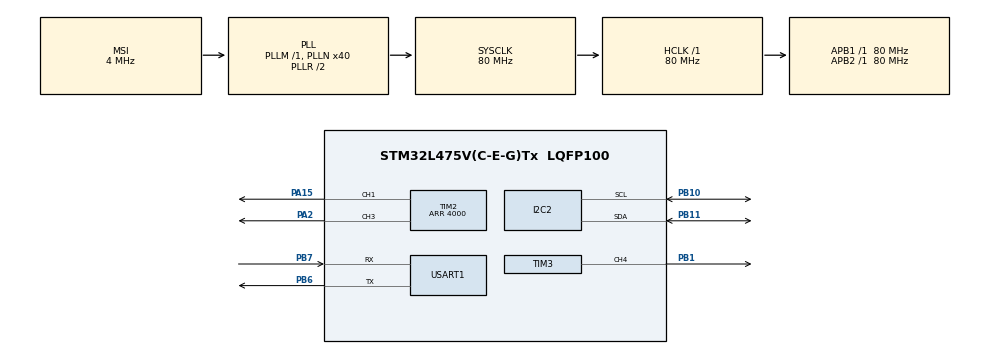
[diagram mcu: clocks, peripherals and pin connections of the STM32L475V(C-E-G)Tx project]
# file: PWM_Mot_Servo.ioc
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I2C2.Timing=0x10D19CE4
Mcu.Family=STM32L4
Mcu.Name=STM32L475V(C-E-G)Tx
Mcu.Package=LQFP100
NVIC.PriorityGroup=NVIC_PRIORITYGROUP_4
PA15\ (JTDI).Signal=S_TIM2_CH1
PA2.Signal=S_TIM2_CH3
PB1.Signal=S_TIM3_CH4
PB10.Mode=I2C
PB10.Signal=I2C2_SCL
PB11.Mode=I2C
PB11.Signal=I2C2_SDA
PB6.Mode=Asynchronous
PB6.Signal=USART1_TX
PB7.Mode=Asynchronous
PB7.Signal=USART1_RX
ProjectManager.HeapSize=0x200
ProjectManager.StackSize=0x400
ProjectManager.TargetToolchain=STM32CubeIDE
RCC.AHBFreq_Value=80000000
RCC.APB1Freq_Value=80000000
RCC.APB1TimFreq_Value=80000000
RCC.APB2Freq_Value=80000000
RCC.APB2TimFreq_Value=80000000
RCC.CortexFreq_Value=80000000
RCC.HCLKFreq_Value=80000000
RCC.HSE_VALUE=8000000
RCC.HSI_VALUE=16000000
RCC.LSE_VALUE=32768
RCC.MSI_VALUE=4000000
RCC.PLLN=40
RCC.SYSCLKFreq_VALUE=80000000
RCC.SYSCLKSource=RCC_SYSCLKSOURCE_PLLCLK
RCC.VCOOutputFreq_Value=160000000
SH.S_TIM2_CH1.0=TIM2_CH1,PWM Generation1 CH1
SH.S_TIM2_CH3.0=TIM2_CH3,PWM Generation3 CH3
SH.S_TIM3_CH4.0=TIM3_CH4,PWM Generation4 CH4
TIM2.Channel-PWM\ Generation1\ CH1=TIM_CHANNEL_1
TIM2.Channel-PWM\ Generation3\ CH3=TIM_CHANNEL_3
TIM2.Period=4000
TIM3.Channel-PWM\ Generation4\ CH4=TIM_CHANNEL_4
TIM3.Period=20000
TIM3.Prescaler=79
TIM3.Pulse-PWM\ Generation4\ CH4=500
USART1.VirtualMode-Asynchronous=VM_ASYNC
board=custom

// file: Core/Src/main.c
/* USER CODE BEGIN Header */
/**
  ******************************************************************************
  * @file           : main.c
  * @brief          : Main program body
  ******************************************************************************
  * @attention
  *
  * Copyright (c) 2025 STMicroelectronics.
  * All rights reserved.
  *
  * This software is licensed under terms that can be found in the LICENSE file
  * in the root directory of this software component.
  * If no LICENSE file comes with this software, it is provided AS-IS.
  *
  ******************************************************************************
  */
/* USER CODE END Header */
#include "main.h"

I2C_HandleTypeDef hi2c2;

TIM_HandleTypeDef htim2;
TIM_HandleTypeDef htim3;

UART_HandleTypeDef huart1;

void SystemClock_Config(void);
static void MX_GPIO_Init(void);
static void MX_TIM2_Init(void);
static void MX_USART1_UART_Init(void);
static void MX_I2C2_Init(void);
static void MX_TIM3_Init(void);

/* USER CODE BEGIN 0 */
void setMotorSpeed (int16_t speed) {
	if (speed >= 0) {
		__HAL_TIM_SET_COMPARE(&htim2, TIM_CHANNEL_1, speed);
		__HAL_TIM_SET_COMPARE(&htim2, TIM_CHANNEL_3, 0);
	} else {
		__HAL_TIM_SET_COMPARE(&htim2, TIM_CHANNEL_1, 0);
		__HAL_TIM_SET_COMPARE(&htim2, TIM_CHANNEL_3, speed);
	}
}

void LSM6DSL_Init(void) {
	uint8_t buffer[1];
	buffer[0] = 0x40;

	HAL_I2C_Mem_Write(&hi2c2, 0xD4, 0x10, I2C_MEMADD_SIZE_8BIT, buffer, 1, 1000);
}

int16_t LSM6DSL_ReadAccel(uint8_t axxis) {
	uint8_t buffer[2];

	HAL_I2C_Mem_Read(&hi2c2, 0xD4, 0x28+(2*axxis), I2C_MEMADD_SIZE_8BIT, buffer, 2, 1000);
	int16_t accel = ((int16_t)(buffer[1]<<8) | buffer[0])*0.061f;
	return accel;
}

void setServoPos(float ang) {
	int16_t vel;
	vel = 500 + (ang*2500)/180;
	__HAL_TIM_SET_COMPARE(&htim3, TIM_CHANNEL_4, vel);
}
/* USER CODE END 0 */

int main(void)
{

  /* MCU Configuration--------------------------------------------------------*/

  /* Reset of all peripherals, Initializes the Flash interface and the Systick. */
  HAL_Init();

  /* Configure the system clock */
  SystemClock_Config();

  /* Initialize all configured peripherals */
  MX_GPIO_Init();
  MX_TIM2_Init();
  MX_USART1_UART_Init();
  MX_I2C2_Init();
  MX_TIM3_Init();
  /* USER CODE BEGIN 2 */
  HAL_TIM_PWM_Start(&htim2, TIM_CHANNEL_3);
  HAL_TIM_PWM_Start(&htim2, TIM_CHANNEL_1);
  LSM6DSL_Init();
  HAL_TIM_PWM_Start(&htim3, TIM_CHANNEL_4);
  /* USER CODE END 2 */

  /* Infinite loop */
  /* USER CODE BEGIN WHILE */
  while (1)
  {
	  //int16_t th;
    /* USER CODE END WHILE */

    /* USER CODE BEGIN 3 */
	  int16_t accelY = LSM6DSL_ReadAccel(1);
	  setMotorSpeed(4*accelY);
	  HAL_Delay(100);

	  int16_t accx = LSM6DSL_ReadAccel(0);
	  int16_t ang = (1000 + accx) * 180/2000;
	  setServoPos(ang);
	  HAL_Delay(100);

	  /*setMotorSpeed(4000);
	  HAL_Delay(1000);
	  setMotorSpeed(-4000);
	  HAL_Delay(1000);*/
  }
  /* USER CODE END 3 */
}

void SystemClock_Config(void)
{
  RCC_OscInitTypeDef RCC_OscInitStruct = {0};
  RCC_ClkInitTypeDef RCC_ClkInitStruct = {0};

  /** Configure the main internal regulator output voltage
  */
  if (HAL_PWREx_ControlVoltageScaling(PWR_REGULATOR_VOLTAGE_SCALE1) != HAL_OK)
  {
    Error_Handler();
  }

  /** Initializes the RCC Oscillators according to the specified parameters
  * in the RCC_OscInitTypeDef structure.
  */
  RCC_OscInitStruct.OscillatorType = RCC_OSCILLATORTYPE_MSI;
  RCC_OscInitStruct.MSIState = RCC_MSI_ON;
  RCC_OscInitStruct.MSICalibrationValue = 0;
  RCC_OscInitStruct.MSIClockRange = RCC_MSIRANGE_6;
  RCC_OscInitStruct.PLL.PLLState = RCC_PLL_ON;
  RCC_OscInitStruct.PLL.PLLSource = RCC_PLLSOURCE_MSI;
  RCC_OscInitStruct.PLL.PLLM = 1;
  RCC_OscInitStruct.PLL.PLLN = 40;
  RCC_OscInitStruct.PLL.PLLP = RCC_PLLP_DIV7;
  RCC_OscInitStruct.PLL.PLLQ = RCC_PLLQ_DIV2;
  RCC_OscInitStruct.PLL.PLLR = RCC_PLLR_DIV2;
  if (HAL_RCC_OscConfig(&RCC_OscInitStruct) != HAL_OK)
  {
    Error_Handler();
  }

  /** Initializes the CPU, AHB and APB buses clocks
  */
  RCC_ClkInitStruct.ClockType = RCC_CLOCKTYPE_HCLK|RCC_CLOCKTYPE_SYSCLK
                              |RCC_CLOCKTYPE_PCLK1|RCC_CLOCKTYPE_PCLK2;
  RCC_ClkInitStruct.SYSCLKSource = RCC_SYSCLKSOURCE_PLLCLK;
  RCC_ClkInitStruct.AHBCLKDivider = RCC_SYSCLK_DIV1;
  RCC_ClkInitStruct.APB1CLKDivider = RCC_HCLK_DIV1;
  RCC_ClkInitStruct.APB2CLKDivider = RCC_HCLK_DIV1;

  if (HAL_RCC_ClockConfig(&RCC_ClkInitStruct, FLASH_LATENCY_4) != HAL_OK)
  {
    Error_Handler();
  }
}

static void MX_I2C2_Init(void)
{

  hi2c2.Instance = I2C2;
  hi2c2.Init.Timing = 0x10D19CE4;
  hi2c2.Init.OwnAddress1 = 0;
  hi2c2.Init.AddressingMode = I2C_ADDRESSINGMODE_7BIT;
  hi2c2.Init.DualAddressMode = I2C_DUALADDRESS_DISABLE;
  hi2c2.Init.OwnAddress2 = 0;
  hi2c2.Init.OwnAddress2Masks = I2C_OA2_NOMASK;
  hi2c2.Init.GeneralCallMode = I2C_GENERALCALL_DISABLE;
  hi2c2.Init.NoStretchMode = I2C_NOSTRETCH_DISABLE;
  if (HAL_I2C_Init(&hi2c2) != HAL_OK)
  {
    Error_Handler();
  }

  /** Configure Analogue filter
  */
  if (HAL_I2CEx_ConfigAnalogFilter(&hi2c2, I2C_ANALOGFILTER_ENABLE) != HAL_OK)
  {
    Error_Handler();
  }

  /** Configure Digital filter
  */
  if (HAL_I2CEx_ConfigDigitalFilter(&hi2c2, 0) != HAL_OK)
  {
    Error_Handler();
  }

}

static void MX_TIM2_Init(void)
{

  TIM_MasterConfigTypeDef sMasterConfig = {0};
  TIM_OC_InitTypeDef sConfigOC = {0};

  htim2.Instance = TIM2;
  htim2.Init.Prescaler = 0;
  htim2.Init.CounterMode = TIM_COUNTERMODE_UP;
  htim2.Init.Period = 4000;
  htim2.Init.ClockDivision = TIM_CLOCKDIVISION_DIV1;
  htim2.Init.AutoReloadPreload = TIM_AUTORELOAD_PRELOAD_DISABLE;
  if (HAL_TIM_PWM_Init(&htim2) != HAL_OK)
  {
    Error_Handler();
  }
  sMasterConfig.MasterOutputTrigger = TIM_TRGO_RESET;
  sMasterConfig.MasterSlaveMode = TIM_MASTERSLAVEMODE_DISABLE;
  if (HAL_TIMEx_MasterConfigSynchronization(&htim2, &sMasterConfig) != HAL_OK)
  {
    Error_Handler();
  }
  sConfigOC.OCMode = TIM_OCMODE_PWM1;
  sConfigOC.Pulse = 0;
  sConfigOC.OCPolarity = TIM_OCPOLARITY_HIGH;
  sConfigOC.OCFastMode = TIM_OCFAST_DISABLE;
  if (HAL_TIM_PWM_ConfigChannel(&htim2, &sConfigOC, TIM_CHANNEL_1) != HAL_OK)
  {
    Error_Handler();
  }
  if (HAL_TIM_PWM_ConfigChannel(&htim2, &sConfigOC, TIM_CHANNEL_3) != HAL_OK)
  {
    Error_Handler();
  }
  HAL_TIM_MspPostInit(&htim2);

}

static void MX_TIM3_Init(void)
{

  TIM_MasterConfigTypeDef sMasterConfig = {0};
  TIM_OC_InitTypeDef sConfigOC = {0};

  htim3.Instance = TIM3;
  htim3.Init.Prescaler = 79;
  htim3.Init.CounterMode = TIM_COUNTERMODE_UP;
  htim3.Init.Period = 20000;
  htim3.Init.ClockDivision = TIM_CLOCKDIVISION_DIV1;
  htim3.Init.AutoReloadPreload = TIM_AUTORELOAD_PRELOAD_DISABLE;
  if (HAL_TIM_PWM_Init(&htim3) != HAL_OK)
  {
    Error_Handler();
  }
  sMasterConfig.MasterOutputTrigger = TIM_TRGO_RESET;
  sMasterConfig.MasterSlaveMode = TIM_MASTERSLAVEMODE_DISABLE;
  if (HAL_TIMEx_MasterConfigSynchronization(&htim3, &sMasterConfig) != HAL_OK)
  {
    Error_Handler();
  }
  sConfigOC.OCMode = TIM_OCMODE_PWM1;
  sConfigOC.Pulse = 500;
  sConfigOC.OCPolarity = TIM_OCPOLARITY_HIGH;
  sConfigOC.OCFastMode = TIM_OCFAST_DISABLE;
  if (HAL_TIM_PWM_ConfigChannel(&htim3, &sConfigOC, TIM_CHANNEL_4) != HAL_OK)
  {
    Error_Handler();
  }
  HAL_TIM_MspPostInit(&htim3);

}

static void MX_USART1_UART_Init(void)
{

  huart1.Instance = USART1;
  huart1.Init.BaudRate = 115200;
  huart1.Init.WordLength = UART_WORDLENGTH_8B;
  huart1.Init.StopBits = UART_STOPBITS_1;
  huart1.Init.Parity = UART_PARITY_NONE;
  huart1.Init.Mode = UART_MODE_TX_RX;
  huart1.Init.HwFlowCtl = UART_HWCONTROL_NONE;
  huart1.Init.OverSampling = UART_OVERSAMPLING_16;
  huart1.Init.OneBitSampling = UART_ONE_BIT_SAMPLE_DISABLE;
  huart1.AdvancedInit.AdvFeatureInit = UART_ADVFEATURE_NO_INIT;
  if (HAL_UART_Init(&huart1) != HAL_OK)
  {
    Error_Handler();
  }

}

static void MX_GPIO_Init(void)
{

  /* GPIO Ports Clock Enable */
  __HAL_RCC_GPIOA_CLK_ENABLE();
  __HAL_RCC_GPIOB_CLK_ENABLE();

}

void Error_Handler(void)
{
  __disable_irq();
  while (1)
  {
  }
}
